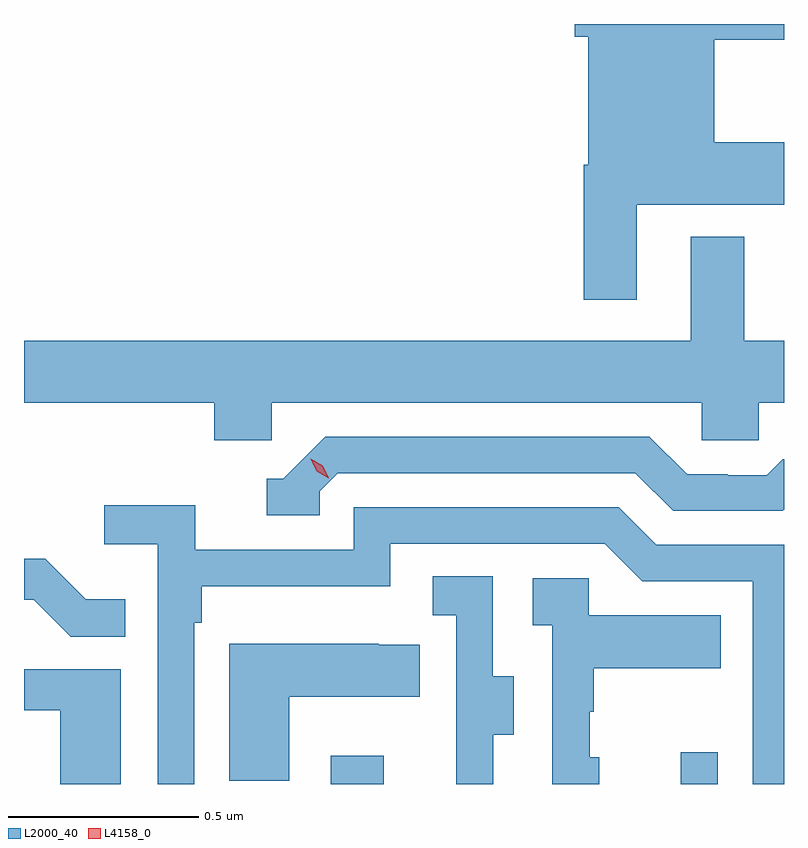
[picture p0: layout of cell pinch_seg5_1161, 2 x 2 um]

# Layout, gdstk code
import gdstk
lib = gdstk.Library(unit=1e-6, precision=1e-09)
def R(c, l, rs):  # rectangles x0, y0, x1, y1
    for r in rs: c.add(gdstk.rectangle(r[:2], r[2:], *l))
def P(c, l, *ps):  # polygons
    for p in ps: c.add(gdstk.Polygon(p, *l))
L2000_40 = (2000, 40)
L4158_0 = (4158, 0)

pinch_seg5_1161 = lib.new_cell('pinch_seg5_1161')
R(pinch_seg5_1161, L2000_40, [(819.623,849.097,819.763,849.172), (820.544,849.097,820.641,849.181)])
P(pinch_seg5_1161, L2000_40, [(820.429,850.622),(820.816,850.622),(820.816,850.786),(820.633,850.786),(820.633,851.056),(820.816,851.056),(820.816,851.097),(820.265,851.097),(820.265,851.064),(820.301,851.064),(820.301,850.726),(820.289,850.726),(820.289,850.371),(820.429,850.371)],
  [(819.468,850.1),(820.599,850.1),(820.599,850.002),(820.749,850.002),(820.749,850.1),(820.816,850.1),(820.816,850.264),(820.711,850.264),(820.711,850.537),(820.571,850.537),(820.571,850.264),(818.816,850.264),(818.816,850.1),(819.317,850.1),(819.317,850.002),(819.468,850.002)],
  [(819.594,849.867),(819.642,849.915),(820.425,849.915),(820.524,849.816),(820.813,849.816),(820.816,849.819),(820.816,849.952),(820.813,849.952),(820.771,849.909),(820.668,849.909),(820.668,849.912),(820.561,849.912),(820.462,850.011),(819.609,850.011),(819.498,849.9),(819.455,849.9),(819.455,849.804),(819.594,849.804)],
  [(819.264,849.521),(819.284,849.521),(819.284,849.617),(819.78,849.617),(819.78,849.729),(820.344,849.729),(820.443,849.63),(820.734,849.63),(820.734,849.097),(820.816,849.097),(820.816,849.726),(820.48,849.726),(820.381,849.825),(819.684,849.825),(819.684,849.714),(819.266,849.714),(819.266,849.83),(819.027,849.83),(819.027,849.728),(819.168,849.728),(819.168,849.097),(819.264,849.097)],
  [(819.083,849.583),(818.979,849.583),(818.872,849.69),(818.816,849.69),(818.816,849.582),(818.841,849.582),(818.939,849.484),(819.083,849.484)],
  [(820.051,849.226),(820.105,849.226),(820.105,849.381),(820.05,849.381),(820.05,849.644),(819.891,849.644),(819.891,849.541),(819.954,849.541),(819.954,849.237),(819.953,849.237),(819.953,849.097),(820.051,849.097)],
  [(820.33,849.168),(820.305,849.168),(820.305,849.287),(820.315,849.287),(820.315,849.401),(820.649,849.401),(820.649,849.541),(820.302,849.541),(820.302,849.639),(820.155,849.639),(820.155,849.515),(820.206,849.515),(820.206,849.097),(820.33,849.097)],
  [(819.514,849.326),(819.857,849.326),(819.857,849.463),(819.749,849.463),(819.749,849.466),(819.356,849.466),(819.356,849.105),(819.514,849.105)],
  [(819.07,849.399),(818.816,849.399),(818.816,849.291),(818.912,849.291),(818.912,849.097),(819.07,849.097)])
P(pinch_seg5_1161, L4158_0, [(819.618,849.901),(819.587,849.92),(819.571,849.953),(819.571,849.953),(819.571,849.953),(819.602,849.934),(819.618,849.902),(819.618,849.901)])

lib.write_gds('pinch_seg5_1161.gds')
